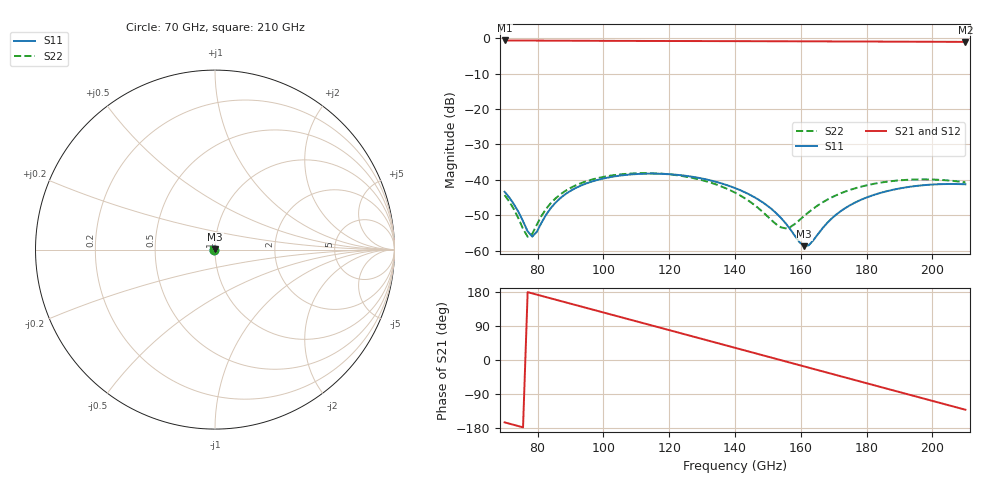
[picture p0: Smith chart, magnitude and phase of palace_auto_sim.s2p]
#  GHZ S DB R 50
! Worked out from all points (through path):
!   101 points, 70 GHz to 210 GHz, reference 50 ohm
!   highest |S21| = -0.61 dB at 70 GHz (marker M1); lowest = -1.0 dB at 210 GHz (marker M2)
!   group delay of S21, straight-line fit = 6.48 ps
!   lowest |S11| = -58.8 dB at 161 GHz (marker M3), VSWR 1.00, Z = 50.1 + j0.0852 ohm
!   |S11| at or under -10 dB: start of sweep to end of sweep
!   |S22| runs from -56.1 to -38.1 dB; largest |S21 - S12| = 1.1e-14
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70  -43.39 -173.1  -0.61 -164.6  -0.61 -164.6  -44.34 -174.2
74.2  -49.08 162.8  -0.62 -174.4  -0.62 -174.4  -50.89 156.8
77  -54.56 124.9  -0.63 179.1  -0.63 179.1  -56.10 101.6
78.4  -56.08 88.5  -0.64 175.8  -0.64 175.8  -55.28 62.5
81.2  -52.16 30.6  -0.65 169.3  -0.65 169.3  -50.23 21.4
84  -48.04 7.0  -0.66 162.7  -0.66 162.7  -46.63 3.3
88.2  -44.25 -12.4  -0.67 152.9  -0.67 152.9  -43.31 -13.8
93.8  -41.40 -31.0  -0.69 139.9  -0.69 139.9  -40.75 -31.6
106.4  -38.67 -66.5  -0.73 110.6  -0.73 110.6  -38.37 -66.5
117.6  -38.31 -97.9  -0.76 84.5  -0.76 84.5  -38.28 -97.7
128.8  -39.43 -131.7  -0.78 58.4  -0.78 58.4  -39.83 -131.8
140  -42.34 -168.9  -0.80 32.2  -0.80 32.2  -43.63 -171.9
148.4  -46.37 158.7  -0.82 12.6  -0.82 12.6  -49.07 144.5
154  -50.82 130.4  -0.84 -0.5  -0.84 -0.5  -53.47 86.8
156.8  -54.01 109.4  -0.85 -7.1  -0.85 -7.1  -53.35 46.7
161  -58.77 47.6  -0.86 -16.9  -0.86 -16.9  -50.25 2.0
163.8  -57.12 -4.9  -0.86 -23.5  -0.86 -23.5  -48.14 -17.6
168  -52.22 -47.0  -0.88 -33.3  -0.88 -33.3  -45.64 -40.0
173.6  -47.94 -78.3  -0.89 -46.4  -0.89 -46.4  -43.30 -64.6
187.6  -42.91 -137.4  -0.94 -79.1  -0.94 -79.1  -40.38 -118.4
198.8  -41.42 178.7  -0.98 -105.2  -0.98 -105.2  -39.91 -159.1
210  -41.27 135.6  -1.01 -131.2  -1.01 -131.2  -40.73 161.3
